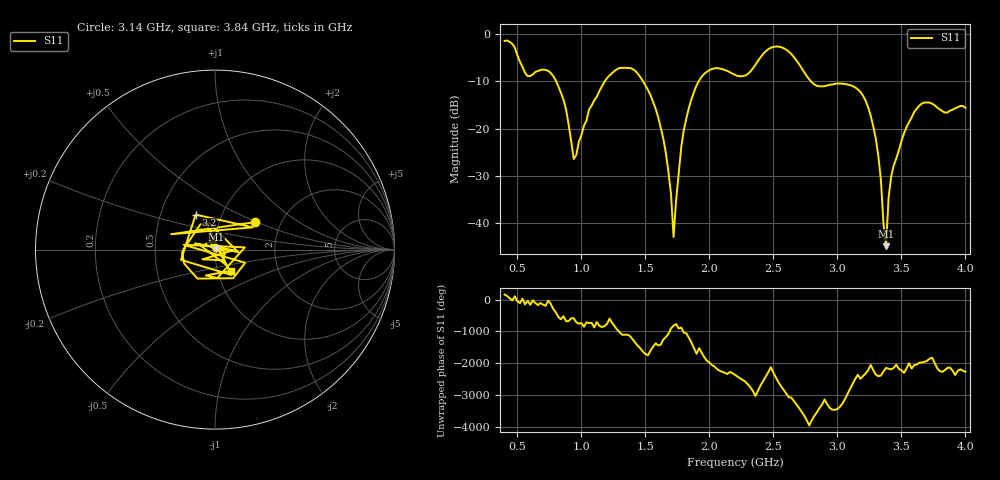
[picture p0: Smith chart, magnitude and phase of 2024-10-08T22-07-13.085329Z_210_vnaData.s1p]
! Created with skrf (http://scikit-rf.org).
# Hz S RI R 50.0
!freq ReS11 ImS11
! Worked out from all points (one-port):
!   181 points, 400 MHz to 4 GHz, reference 50 ohm
!   lowest |S11| = -45.0 dB at 3.38 GHz (marker M1), VSWR 1.01, Z = 50.5 + j0.146 ohm
!   |S11| at or under -10 dB: 803 MHz to 1.182 GHz (379.3 MHz wide, 38.2 % of centre); 1.482 GHz to 1.916 GHz (434.1 MHz wide, 25.5 % of centre); 2.794 GHz to end of sweep
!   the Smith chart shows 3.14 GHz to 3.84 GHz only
!   S11 on the Smith chart (normalised r, x): 3.14 GHz: 1.48, +0.49; 3.2 GHz: 0.75, +0.31; 3.84 GHz: 1.16, -0.28
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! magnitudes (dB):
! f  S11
! 400 MHz  -1.4
! 760 MHz  -8.2
! 860 MHz  -13.9
! 940 MHz  -26.5
! 1.06 GHz  -16.0
! 1.3 GHz  -7.2
! 1.44 GHz  -8.4
! 1.58 GHz  -15.8
! 1.66 GHz  -25.3
! 1.7 GHz  -33.9
! 1.72 GHz  -43.0
! 1.76 GHz  -29.5
! 1.82 GHz  -17.8
! 1.92 GHz  -9.8
! 2.2 GHz  -8.6
! 2.5 GHz  -2.7
! 2.66 GHz  -4.8
! 2.84 GHz  -10.9
! 3.1 GHz  -10.8
! 3.14 GHz  -11.3
! 3.2 GHz  -13.0
! 3.3 GHz  -22.2
! 3.38 GHz  -45.0
! 3.42 GHz  -30.2
! 3.56 GHz  -18.7
! 3.68 GHz  -14.5
! 3.84 GHz  -16.6
! 4 GHz  -15.6
